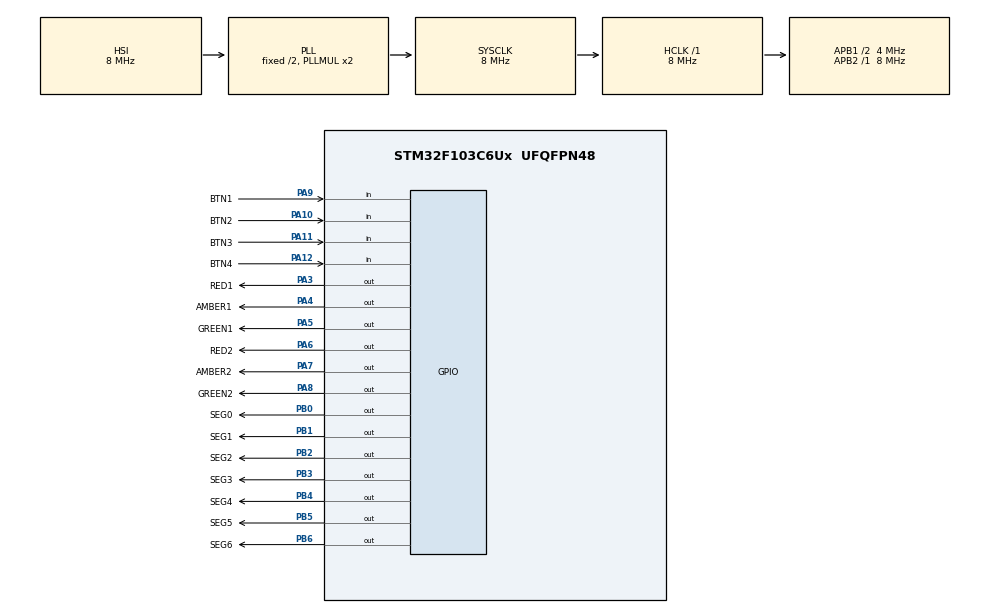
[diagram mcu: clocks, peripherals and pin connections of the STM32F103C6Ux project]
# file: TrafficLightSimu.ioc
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Mcu.Family=STM32F1
Mcu.Name=STM32F103C6Ux
Mcu.Package=UFQFPN48
NVIC.PriorityGroup=NVIC_PRIORITYGROUP_4
NVIC.TIM2_IRQn=true\:0\:0\:false\:false\:true\:true\:true\:true
PA10.GPIO_Label=BTN2
PA10.GPIO_PuPd=GPIO_PULLUP
PA10.Signal=GPIO_Input
PA11.GPIO_Label=BTN3
PA11.GPIO_PuPd=GPIO_PULLUP
PA11.Signal=GPIO_Input
PA12.GPIO_Label=BTN4
PA12.GPIO_PuPd=GPIO_PULLUP
PA12.Signal=GPIO_Input
PA3.GPIO_Label=RED1
PA3.Signal=GPIO_Output
PA4.GPIO_Label=AMBER1
PA4.Signal=GPIO_Output
PA5.GPIO_Label=GREEN1
PA5.Signal=GPIO_Output
PA6.GPIO_Label=RED2
PA6.Signal=GPIO_Output
PA7.GPIO_Label=AMBER2
PA7.Signal=GPIO_Output
PA8.GPIO_Label=GREEN2
PA8.Signal=GPIO_Output
PA9.GPIO_Label=BTN1
PA9.GPIO_PuPd=GPIO_PULLUP
PA9.Signal=GPIO_Input
PB0.GPIO_Label=SEG0
PB0.Signal=GPIO_Output
PB1.GPIO_Label=SEG1
PB1.Signal=GPIO_Output
PB2.GPIO_Label=SEG2
PB2.Signal=GPIO_Output
PB3.GPIO_Label=SEG3
PB3.Signal=GPIO_Output
PB4.GPIO_Label=SEG4
PB4.Signal=GPIO_Output
PB5.GPIO_Label=SEG5
PB5.Signal=GPIO_Output
PB6.GPIO_Label=SEG6
PB6.Signal=GPIO_Output
ProjectManager.HeapSize=0x200
ProjectManager.StackSize=0x400
ProjectManager.TargetToolchain=STM32CubeIDE
RCC.AHBFreq_Value=8000000
RCC.APB1CLKDivider=RCC_HCLK_DIV2
RCC.APB1Freq_Value=4000000
RCC.APB1TimFreq_Value=8000000
RCC.APB2Freq_Value=8000000
RCC.APB2TimFreq_Value=8000000
RCC.HCLKFreq_Value=8000000
RCC.SYSCLKFreq_VALUE=8000000
RCC.SYSCLKSource=RCC_SYSCLKSOURCE_PLLCLK
RCC.USBFreq_Value=8000000
TIM2.Period=9
TIM2.Prescaler=7999
VP_SYS_VS_ND.Mode=No_Debug
VP_TIM2_VS_ClockSourceINT.Mode=Internal
board=custom

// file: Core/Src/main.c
/* USER CODE BEGIN Header */
/**
  ******************************************************************************
  * @file           : main.c
  * @brief          : Main program body
  ******************************************************************************
  * @attention
  *
  * Copyright (c) 2024 STMicroelectronics.
  * All rights reserved.
  *
  * This software is licensed under terms that can be found in the LICENSE file
  * in the root directory of this software component.
  * If no LICENSE file comes with this software, it is provided AS-IS.
  *
  ******************************************************************************
  */
/* USER CODE END Header */
#include "main.h"

/* USER CODE BEGIN Includes */
#include "global.h"
/* USER CODE END Includes */

TIM_HandleTypeDef htim2;

void SystemClock_Config(void);
static void MX_GPIO_Init(void);
static void MX_TIM2_Init(void);

/* USER CODE BEGIN 0 */
void updateTimer(void) {
	timerRun(0);
	timerRun(1);
	timerRun(2);
	timerRun(3);
	timerRun(4);
}

void buttonRead(void){
	getKeyInput(0);
	getKeyInput(1);
	getKeyInput(2);
	getKeyInput(3);
}
/* USER CODE END 0 */

int main(void)
{

  /* MCU Configuration--------------------------------------------------------*/

  /* Reset of all peripherals, Initializes the Flash interface and the Systick. */
  HAL_Init();

  /* Configure the system clock */
  SystemClock_Config();

  /* Initialize all configured peripherals */
  MX_GPIO_Init();
  MX_TIM2_Init();
  /* USER CODE BEGIN 2 */
  HAL_TIM_Base_Start_IT(&htim2);
  /* USER CODE END 2 */

  /* Infinite loop */
  /* USER CODE BEGIN WHILE */
  setTimer(1, 100);
  setTimer(2, 200);
  setTimer(3, 300);
//  int i = 0;
  while (1)
  {
	  fsm_manual_run();
	  fsm_auto_run(0);
	  fsm_auto_run(1);
    /* USER CODE END WHILE */

  }
}

void SystemClock_Config(void)
{
  RCC_OscInitTypeDef RCC_OscInitStruct = {0};
  RCC_ClkInitTypeDef RCC_ClkInitStruct = {0};

  /** Initializes the RCC Oscillators according to the specified parameters
  * in the RCC_OscInitTypeDef structure.
  */
  RCC_OscInitStruct.OscillatorType = RCC_OSCILLATORTYPE_HSI;
  RCC_OscInitStruct.HSIState = RCC_HSI_ON;
  RCC_OscInitStruct.HSICalibrationValue = RCC_HSICALIBRATION_DEFAULT;
  RCC_OscInitStruct.PLL.PLLState = RCC_PLL_ON;
  RCC_OscInitStruct.PLL.PLLSource = RCC_PLLSOURCE_HSI_DIV2;
  RCC_OscInitStruct.PLL.PLLMUL = RCC_PLL_MUL2;
  if (HAL_RCC_OscConfig(&RCC_OscInitStruct) != HAL_OK)
  {
    Error_Handler();
  }

  /** Initializes the CPU, AHB and APB buses clocks
  */
  RCC_ClkInitStruct.ClockType = RCC_CLOCKTYPE_HCLK|RCC_CLOCKTYPE_SYSCLK
                              |RCC_CLOCKTYPE_PCLK1|RCC_CLOCKTYPE_PCLK2;
  RCC_ClkInitStruct.SYSCLKSource = RCC_SYSCLKSOURCE_PLLCLK;
  RCC_ClkInitStruct.AHBCLKDivider = RCC_SYSCLK_DIV1;
  RCC_ClkInitStruct.APB1CLKDivider = RCC_HCLK_DIV2;
  RCC_ClkInitStruct.APB2CLKDivider = RCC_HCLK_DIV1;

  if (HAL_RCC_ClockConfig(&RCC_ClkInitStruct, FLASH_LATENCY_0) != HAL_OK)
  {
    Error_Handler();
  }
}

static void MX_TIM2_Init(void)
{

  TIM_ClockConfigTypeDef sClockSourceConfig = {0};
  TIM_MasterConfigTypeDef sMasterConfig = {0};

  htim2.Instance = TIM2;
  htim2.Init.Prescaler = 7999;
  htim2.Init.CounterMode = TIM_COUNTERMODE_UP;
  htim2.Init.Period = 9;
  htim2.Init.ClockDivision = TIM_CLOCKDIVISION_DIV1;
  htim2.Init.AutoReloadPreload = TIM_AUTORELOAD_PRELOAD_DISABLE;
  if (HAL_TIM_Base_Init(&htim2) != HAL_OK)
  {
    Error_Handler();
  }
  sClockSourceConfig.ClockSource = TIM_CLOCKSOURCE_INTERNAL;
  if (HAL_TIM_ConfigClockSource(&htim2, &sClockSourceConfig) != HAL_OK)
  {
    Error_Handler();
  }
  sMasterConfig.MasterOutputTrigger = TIM_TRGO_RESET;
  sMasterConfig.MasterSlaveMode = TIM_MASTERSLAVEMODE_DISABLE;
  if (HAL_TIMEx_MasterConfigSynchronization(&htim2, &sMasterConfig) != HAL_OK)
  {
    Error_Handler();
  }

}

static void MX_GPIO_Init(void)
{
  GPIO_InitTypeDef GPIO_InitStruct = {0};

  /* GPIO Ports Clock Enable */
  __HAL_RCC_GPIOA_CLK_ENABLE();
  __HAL_RCC_GPIOB_CLK_ENABLE();

  /*Configure GPIO pin Output Level */
  HAL_GPIO_WritePin(GPIOA, RED1_Pin|AMBER1_Pin|GREEN1_Pin|RED2_Pin
                          |AMBER2_Pin|GREEN2_Pin, GPIO_PIN_RESET);

  /*Configure GPIO pin Output Level */
  HAL_GPIO_WritePin(GPIOB, SEG0_Pin|SEG1_Pin|SEG2_Pin|SEG3_Pin
                          |SEG4_Pin|SEG5_Pin|SEG6_Pin, GPIO_PIN_RESET);

  /*Configure GPIO pins : RED1_Pin AMBER1_Pin GREEN1_Pin RED2_Pin
                           AMBER2_Pin GREEN2_Pin */
  GPIO_InitStruct.Pin = RED1_Pin|AMBER1_Pin|GREEN1_Pin|RED2_Pin
                          |AMBER2_Pin|GREEN2_Pin;
  GPIO_InitStruct.Mode = GPIO_MODE_OUTPUT_PP;
  GPIO_InitStruct.Pull = GPIO_NOPULL;
  GPIO_InitStruct.Speed = GPIO_SPEED_FREQ_LOW;
  HAL_GPIO_Init(GPIOA, &GPIO_InitStruct);

  /*Configure GPIO pins : SEG0_Pin SEG1_Pin SEG2_Pin SEG3_Pin
                           SEG4_Pin SEG5_Pin SEG6_Pin */
  GPIO_InitStruct.Pin = SEG0_Pin|SEG1_Pin|SEG2_Pin|SEG3_Pin
                          |SEG4_Pin|SEG5_Pin|SEG6_Pin;
  GPIO_InitStruct.Mode = GPIO_MODE_OUTPUT_PP;
  GPIO_InitStruct.Pull = GPIO_NOPULL;
  GPIO_InitStruct.Speed = GPIO_SPEED_FREQ_LOW;
  HAL_GPIO_Init(GPIOB, &GPIO_InitStruct);

  /*Configure GPIO pins : BTN1_Pin BTN2_Pin BTN3_Pin BTN4_Pin */
  GPIO_InitStruct.Pin = BTN1_Pin|BTN2_Pin|BTN3_Pin|BTN4_Pin;
  GPIO_InitStruct.Mode = GPIO_MODE_INPUT;
  GPIO_InitStruct.Pull = GPIO_PULLUP;
  HAL_GPIO_Init(GPIOA, &GPIO_InitStruct);

}

/* USER CODE BEGIN 4 */
void HAL_TIM_PeriodElapsedCallback(TIM_HandleTypeDef *htim){
//	updateTimer();
	timerRun(1);
	buttonRead();
}
/* USER CODE END 4 */

void Error_Handler(void)
{
  __disable_irq();
  while (1)
  {
  }
}
